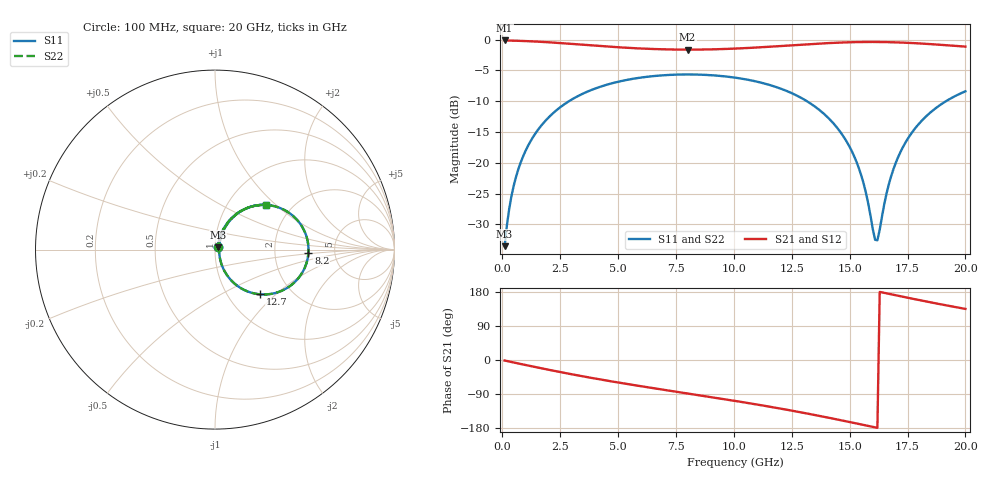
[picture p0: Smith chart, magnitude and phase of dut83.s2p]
! Touchstone file exported from HFSS 2026.1.0
!  File:  C:/ffzhzh/LocalFiles/Ansys_Project_Files/temp_train_TSV_RDL_83_1782972052_6388.aedt
!  Generated:  02:11:37 PM Jul  2, 2026
!  Design:  TSV_RDL
!  Project:  temp_train_TSV_RDL_83_1782972052_6388
! Variables:
!  h_bsmrdl = 5.27um
!  h_ox = 20um
!  h_rdl = 5um
!  h_sub = 91.87um
!  h_tmrdl = 3.01um
!  h_tsv = 91.87um
!  h_via = 3um
!  l_bsmrdl = 579.68um
!  l_sub = 3522.98um
!  l_tmrdl = 318.58um
!  m_sub = 200um
!  pitch = 46.76um
!  r_tsv = 10um
!  s_tmrdl = 10um
!  w_bsmrdl = 14.14um
!  w_sub = 500um
!  w_tmrdl = 22.4um
!  x_tsv_center1 = 329.78um
!  x_tsv_center2 = 923.6um
!  x_tsv_center3 = 1264.58um
!  x_tsv_center4 = 1858.4um
!  x_tsv_center5 = 2199.38um
!  x_tsv_center6 = 2793.2um
# GHz S MA R 50.000000
! Terminal data exported
! Port[1] = TM_RDL1_1_T1
! Port[2] = TM_RDL5_1_T1
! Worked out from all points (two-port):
!   200 points, 100 MHz to 20 GHz, reference 50 ohm
!   highest |S21| = -0.14 dB at 100 MHz (marker M1); lowest = -1.6 dB at 8 GHz (marker M2)
!   |S21| within 3 dB of the highest: start of sweep to end of sweep
!   lowest |S11| = -33.5 dB at 100 MHz (marker M3), VSWR 1.04, Z = 51.7 + j1.33 ohm
!   |S11| at or under -10 dB: start of sweep to 2.883 GHz; 13.15 GHz to 19.16 GHz (6.01 GHz wide, 37.2 % of centre)
!   |S22| runs from -33.5 to -5.7 dB; largest |S21 - S12| = 2.1e-14
!   S11 on the Smith chart (normalised r, x): 100 MHz: 1.03, +0.03; 8.2 GHz: 3.16, -0.15; 12.7 GHz: 1.40, -0.80; 20 GHz: 1.50, +0.87
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0.1  0.02103 37.7  0.9836 -1.4  0.9836 -1.4  0.02103 37.7
! Gamma 0 0 0 0
! Port Impedance 50 0 50 0
0.3  0.04246 61.7  0.9818 -4.0  0.9818 -4.0  0.04246 61.7
0.5  0.06589 67.1  0.9796 -6.7  0.9796 -6.7  0.06589 67.1
1.1  0.1359 67.0  0.9707 -14.4  0.9707 -14.4  0.1359 67.0
2.1  0.2435 57.9  0.948 -27.0  0.948 -27.0  0.2435 57.9
3.5  0.3653 43.0  0.9072 -43.4  0.9072 -43.4  0.3653 43.0
6.8  0.5106 10.8  0.835 -77.0  0.835 -77.0  0.5106 10.8
8  0.521 -0.1  0.8286 -88.3  0.8286 -88.3  0.521 -0.1
8.2  0.5207 -1.9  0.8287 -90.2  0.8287 -90.2  0.5208 -1.9
10.1  0.4895 -19.4  0.8455 -108.4  0.8455 -108.4  0.4895 -19.4
12.7  0.3525 -45.0  0.9037 -135.9  0.9037 -135.9  0.3525 -45.0
13.4  0.295 -52.2  0.9211 -144.0  0.9211 -144.0  0.295 -52.2
14.4  0.1987 -61.8  0.9422 -156.1  0.9422 -156.1  0.1987 -61.8
15.1  0.1235 -66.3  0.9521 -164.9  0.9521 -164.9  0.1235 -66.4
15.6  0.06831 -63.7  0.9557 -171.3  0.9557 -171.3  0.06829 -63.7
16.1  0.02368 -14.6  0.9563 -177.8  0.9563 -177.8  0.02359 -14.7
16.2  0.02351 12.8  0.956 -179.0  0.956 -179.0  0.02342 12.8
16.7  0.06762 63.2  0.9527 174.5  0.9527 174.5  0.06759 63.3
17.2  0.1227 66.0  0.9463 168.2  0.9463 168.2  0.1227 66.1
17.9  0.1976 61.6  0.933 159.4  0.933 159.4  0.1976 61.6
18.8  0.2847 53.1  0.9105 148.5  0.9105 148.5  0.2847 53.1
20  0.3801 41.0  0.8766 134.9  0.8766 134.9  0.3801 41.0
